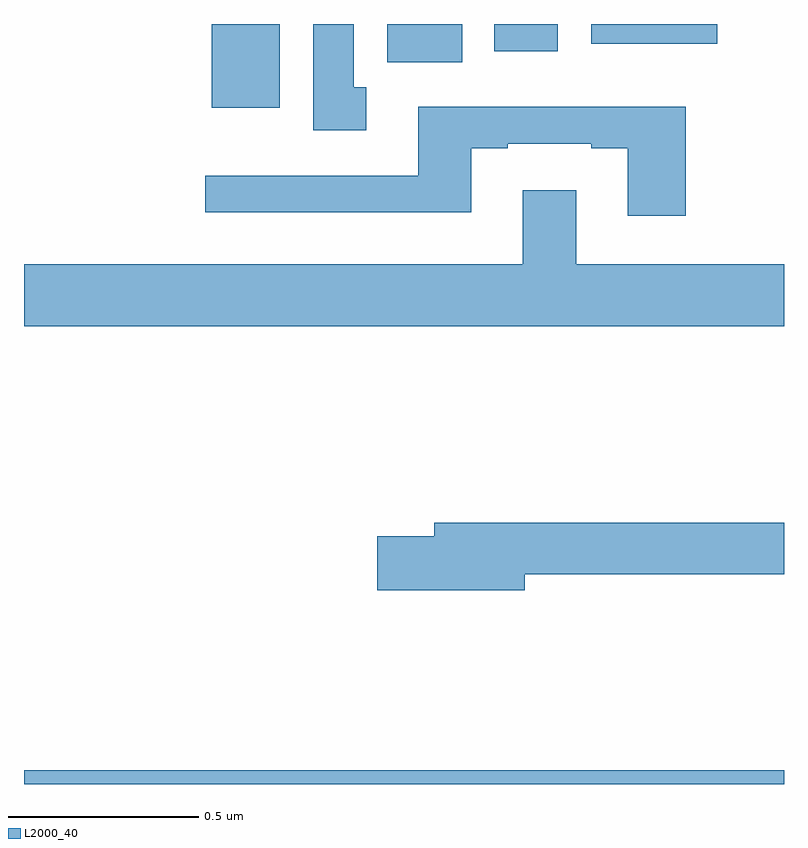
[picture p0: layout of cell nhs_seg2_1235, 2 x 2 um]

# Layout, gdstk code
import gdstk
lib = gdstk.Library(unit=1e-6, precision=1e-09)
def R(c, l, rs):  # rectangles x0, y0, x1, y1
    for r in rs: c.add(gdstk.rectangle(r[:2], r[2:], *l))
def P(c, l, *ps):  # polygons
    for p in ps: c.add(gdstk.Polygon(p, *l))
L2000_40 = (2000, 40)

nhs_seg2_1235 = lib.new_cell('nhs_seg2_1235')
R(nhs_seg2_1235, L2000_40, [(126,611.8,128,611.836), (126.494,613.58,126.673,613.8), (126.956,613.7,127.153,613.8), (127.238,613.728,127.405,613.8), (127.493,613.748,127.824,613.8)])
P(nhs_seg2_1235, L2000_40, [(126.901,613.634),(126.868,613.634),(126.868,613.8),(126.761,613.8),(126.761,613.521),(126.901,613.521)],
  [(127.742,613.582),(127.037,613.582),(127.037,613.401),(126.477,613.401),(126.477,613.304),(127.177,613.304),(127.177,613.473),(127.273,613.473),(127.273,613.485),(127.493,613.485),(127.493,613.473),(127.589,613.473),(127.589,613.296),(127.742,613.296)],
  [(128,613.168),(127.453,613.168),(127.453,613.363),(127.313,613.363),(127.313,613.168),(126,613.168),(126,613.004),(128,613.004)],
  [(127.318,612.352),(128,612.352),(128,612.488),(127.079,612.488),(127.079,612.452),(126.93,612.452),(126.93,612.31),(127.318,612.31)])

lib.write_gds('nhs_seg2_1235.gds')
